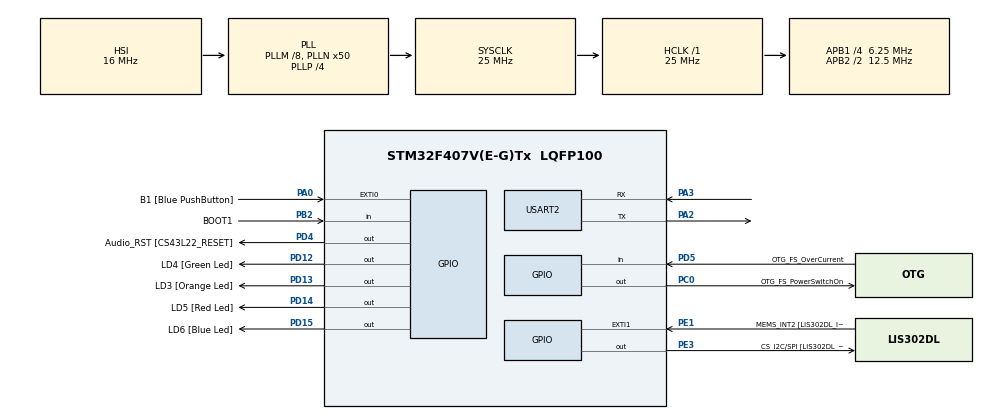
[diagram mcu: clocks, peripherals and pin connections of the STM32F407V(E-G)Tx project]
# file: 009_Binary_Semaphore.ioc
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Mcu.Family=STM32F4
Mcu.Name=STM32F407V(E-G)Tx
Mcu.Package=LQFP100
NVIC.EXTI0_IRQn=true\:6\:0\:true\:false\:true\:true\:true\:true
NVIC.PriorityGroup=NVIC_PRIORITYGROUP_4
NVIC.TIM6_DAC_IRQn=true\:15\:0\:false\:false\:true\:false\:true\:true
NVIC.TimeBase=TIM6_DAC_IRQn
NVIC.TimeBaseIP=TIM6
PA0-WKUP.GPIO_Label=B1 [Blue PushButton]
PA0-WKUP.Signal=GPXTI0
PA10.GPIO_Label=OTG_FS_ID
PA10.GPIO_Mode=GPIO_MODE_AF_PP
PA10.GPIO_PuPd=GPIO_NOPULL
PA10.GPIO_Speed=GPIO_SPEED_FREQ_LOW
PA10.Signal=USB_OTG_FS_ID
PA11.GPIO_Label=OTG_FS_DM
PA11.GPIO_Mode=GPIO_MODE_AF_PP
PA11.GPIO_PuPd=GPIO_NOPULL
PA11.GPIO_Speed=GPIO_SPEED_FREQ_LOW
PA11.Signal=USB_OTG_FS_DM
PA12.GPIO_Label=OTG_FS_DP
PA12.GPIO_Mode=GPIO_MODE_AF_PP
PA12.GPIO_PuPd=GPIO_NOPULL
PA12.GPIO_Speed=GPIO_SPEED_FREQ_LOW
PA12.Signal=USB_OTG_FS_DP
PA13.GPIO_Label=SWDIO
PA13.Signal=SYS_JTMS-SWDIO
PA14.GPIO_Label=SWCLK
PA14.Signal=SYS_JTCK-SWCLK
PA2.Mode=Asynchronous
PA2.Signal=USART2_TX
PA3.Mode=Asynchronous
PA3.Signal=USART2_RX
PA4.GPIO_Label=I2S3_WS [CS43L22_LRCK]
PA4.GPIO_Mode=GPIO_MODE_AF_PP
PA4.GPIO_PuPd=GPIO_NOPULL
PA4.GPIO_Speed=GPIO_SPEED_FREQ_LOW
PA4.Signal=I2S3_WS
PA5.GPIO_Label=SPI1_SCK [LIS302DL_SCL/SPC]
PA5.GPIO_Mode=GPIO_MODE_AF_PP
PA5.GPIO_PuPd=GPIO_NOPULL
PA5.GPIO_Speed=GPIO_SPEED_FREQ_LOW
PA5.Signal=SPI1_SCK
PA6.GPIO_Label=SPI1_MISO [LIS302DL_SDO]
PA6.GPIO_Mode=GPIO_MODE_AF_PP
PA6.GPIO_PuPd=GPIO_NOPULL
PA6.GPIO_Speed=GPIO_SPEED_FREQ_LOW
PA6.Signal=SPI1_MISO
PA7.GPIO_Label=SPI1_MOSI [LIS302DL_SDA/SDI/SDO]
PA7.GPIO_Mode=GPIO_MODE_AF_PP
PA7.GPIO_PuPd=GPIO_NOPULL
PA7.GPIO_Speed=GPIO_SPEED_FREQ_LOW
PA7.Signal=SPI1_MOSI
PA9.GPIO_Label=VBUS_FS
PA9.GPIO_Mode=GPIO_MODE_INPUT
PA9.GPIO_PuPd=GPIO_NOPULL
PA9.Signal=USB_OTG_FS_VBUS
PB10.GPIO_Label=CLK_IN [MP45DT02_CLK]
PB10.GPIO_Mode=GPIO_MODE_AF_PP
PB10.GPIO_PuPd=GPIO_NOPULL
PB10.GPIO_Speed=GPIO_SPEED_FREQ_LOW
PB10.Signal=I2S2_CK
PB2.GPIO_Label=BOOT1
PB2.GPIO_Mode=GPIO_MODE_INPUT
PB2.GPIO_PuPd=GPIO_NOPULL
PB2.Signal=GPIO_Input
PB3.GPIO_Label=SWO
PB3.Signal=SYS_JTDO-SWO
PB6.GPIO_Label=Audio_SCL [CS43L22_SCL]
PB6.GPIO_Mode=GPIO_MODE_AF_OD
PB6.GPIO_PuPd=GPIO_NOPULL
PB6.GPIO_Speed=GPIO_SPEED_FREQ_LOW
PB6.Signal=I2C1_SCL
PB9.GPIO_Label=Audio_SDA [CS43L22_SDA]
PB9.GPIO_Mode=GPIO_MODE_AF_OD
PB9.GPIO_PuPd=GPIO_NOPULL
PB9.GPIO_Speed=GPIO_SPEED_FREQ_LOW
PB9.Signal=I2C1_SDA
PC0.GPIO_Label=OTG_FS_PowerSwitchOn
PC0.GPIO_PuPd=GPIO_NOPULL
PC0.GPIO_Speed=GPIO_SPEED_FREQ_LOW
PC0.PinState=GPIO_PIN_SET
PC0.Signal=GPIO_Output
PC10.GPIO_Label=I2S3_SCK [CS43L22_SCLK]
PC10.GPIO_Mode=GPIO_MODE_AF_PP
PC10.GPIO_PuPd=GPIO_NOPULL
PC10.GPIO_Speed=GPIO_SPEED_FREQ_LOW
PC10.Signal=I2S3_CK
PC12.GPIO_Label=I2S3_SD [CS43L22_SDIN]
PC12.GPIO_Mode=GPIO_MODE_AF_PP
PC12.GPIO_PuPd=GPIO_NOPULL
PC12.GPIO_Speed=GPIO_SPEED_FREQ_LOW
PC12.Signal=I2S3_SD
PC14-OSC32_IN.GPIO_Label=PC14-OSC32_IN
PC14-OSC32_IN.Signal=RCC_OSC32_IN
PC15-OSC32_OUT.GPIO_Label=PC15-OSC32_OUT
PC15-OSC32_OUT.Signal=RCC_OSC32_OUT
PC3.GPIO_Label=PDM_OUT [MP45DT02_DOUT]
PC3.GPIO_Mode=GPIO_MODE_AF_PP
PC3.GPIO_PuPd=GPIO_NOPULL
PC3.GPIO_Speed=GPIO_SPEED_FREQ_LOW
PC3.Signal=I2S2_SD
PC7.GPIO_Label=I2S3_MCK [CS43L22_MCLK]
PC7.GPIO_Mode=GPIO_MODE_AF_PP
PC7.GPIO_PuPd=GPIO_NOPULL
PC7.GPIO_Speed=GPIO_SPEED_FREQ_LOW
PC7.Signal=I2S3_MCK
PD12.GPIO_Label=LD4 [Green Led]
PD12.GPIO_PuPd=GPIO_NOPULL
PD12.GPIO_Speed=GPIO_SPEED_FREQ_LOW
PD12.Signal=GPIO_Output
PD13.GPIO_Label=LD3 [Orange Led]
PD13.GPIO_PuPd=GPIO_NOPULL
PD13.GPIO_Speed=GPIO_SPEED_FREQ_LOW
PD13.Signal=GPIO_Output
PD14.GPIO_Label=LD5 [Red Led]
PD14.GPIO_PuPd=GPIO_NOPULL
PD14.GPIO_Speed=GPIO_SPEED_FREQ_LOW
PD14.Signal=GPIO_Output
PD15.GPIO_Label=LD6 [Blue Led]
PD15.GPIO_PuPd=GPIO_NOPULL
PD15.GPIO_Speed=GPIO_SPEED_FREQ_LOW
PD15.Signal=GPIO_Output
PD4.GPIO_Label=Audio_RST [CS43L22_RESET]
PD4.GPIO_PuPd=GPIO_NOPULL
PD4.GPIO_Speed=GPIO_SPEED_FREQ_LOW
PD4.Signal=GPIO_Output
PD5.GPIO_Label=OTG_FS_OverCurrent
PD5.GPIO_Mode=GPIO_MODE_INPUT
PD5.GPIO_PuPd=GPIO_NOPULL
PD5.Signal=GPIO_Input
PE1.GPIO_Label=MEMS_INT2 [LIS302DL_INT2]
PE1.GPIO_ModeDefaultEXTI=GPIO_MODE_EVT_RISING
PE1.GPIO_PuPd=GPIO_NOPULL
PE1.Signal=GPXTI1
PE3.GPIO_Label=CS_I2C/SPI [LIS302DL_CS_I2C/SPI]
PE3.GPIO_PuPd=GPIO_NOPULL
PE3.GPIO_Speed=GPIO_SPEED_FREQ_LOW
PE3.Signal=GPIO_Output
PH0-OSC_IN.GPIO_Label=PH0-OSC_IN
PH0-OSC_IN.Signal=RCC_OSC_IN
PH1-OSC_OUT.GPIO_Label=PH1-OSC_OUT
PH1-OSC_OUT.Signal=RCC_OSC_OUT
ProjectManager.HeapSize=0x200
ProjectManager.StackSize=0x400
ProjectManager.TargetToolchain=STM32CubeIDE
RCC.48MHZClocksFreq_Value=14285714.285714285
RCC.AHBFreq_Value=25000000
RCC.APB1CLKDivider=RCC_HCLK_DIV4
RCC.APB1Freq_Value=6250000
RCC.APB1TimFreq_Value=12500000
RCC.APB2CLKDivider=RCC_HCLK_DIV2
RCC.APB2Freq_Value=12500000
RCC.APB2TimFreq_Value=25000000
RCC.CortexFreq_Value=25000000
RCC.HCLKFreq_Value=25000000
RCC.HSE_VALUE=8000000
RCC.HSI_VALUE=16000000
RCC.LSE_VALUE=32768
RCC.PLLM=8
RCC.PLLN=50
RCC.PLLP=RCC_PLLP_DIV4
RCC.PLLQ=7
RCC.SYSCLKFreq_VALUE=25000000
RCC.SYSCLKSource=RCC_SYSCLKSOURCE_PLLCLK
RCC.VCOOutputFreq_Value=100000000
USART2.VirtualMode=VM_ASYNC
VP_SYS_VS_tim6.Mode=TIM6
board=STM32F407G-DISC1

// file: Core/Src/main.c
/* USER CODE BEGIN Header */
/**
  ******************************************************************************
  * @file           : main.c
  * @brief          : Main program body
  ******************************************************************************
  * @attention
  *
  * Copyright (c) 2024 STMicroelectronics.
  * All rights reserved.
  *
  * This software is licensed under terms that can be found in the LICENSE file
  * in the root directory of this software component.
  * If no LICENSE file comes with this software, it is provided AS-IS.
  *
  ******************************************************************************
  */
/* USER CODE END Header */
#include "main.h"

/* USER CODE BEGIN PTD */
SemaphoreHandle_t handle_semaphore;

/* USER CODE END PTD */

UART_HandleTypeDef huart2;

/* USER CODE BEGIN PV */
char*msg[50]={0};
/* USER CODE END PV */

void SystemClock_Config(void);
static void MX_GPIO_Init(void);
static void MX_USART2_UART_Init(void);
/* USER CODE BEGIN PFP */
void task1(void* param);
void task_semaph(void* param);
void printmsg(char *msg);
/* USER CODE END PFP */

int main(void)
{
  /* USER CODE BEGIN 1 */
	BaseType_t status;
  /* USER CODE END 1 */

  /* MCU Configuration--------------------------------------------------------*/

  /* Reset of all peripherals, Initializes the Flash interface and the Systick. */
  HAL_Init();

  /* Configure the system clock */
  SystemClock_Config();

  /* Initialize all configured peripherals */
  MX_GPIO_Init();
  MX_USART2_UART_Init();
  /* USER CODE BEGIN 2 */
  sprintf(msg,"Initialized \r\n");
  printmsg(msg);
  vSemaphoreCreateBinary(handle_semaphore);

  status=xTaskCreate(task1, "masterTask", 500, NULL, 2, NULL);

  status=xTaskCreate(task_semaph, "slaveTask", 500, NULL, 2, NULL);

  vTaskStartScheduler();

  /* USER CODE END 2 */

  /* Infinite loop */
  while (1)
  {

  }
}

void SystemClock_Config(void)
{
  RCC_OscInitTypeDef RCC_OscInitStruct = {0};
  RCC_ClkInitTypeDef RCC_ClkInitStruct = {0};

  /** Configure the main internal regulator output voltage
  */
  __HAL_RCC_PWR_CLK_ENABLE();
  __HAL_PWR_VOLTAGESCALING_CONFIG(PWR_REGULATOR_VOLTAGE_SCALE1);

  /** Initializes the RCC Oscillators according to the specified parameters
  * in the RCC_OscInitTypeDef structure.
  */
  RCC_OscInitStruct.OscillatorType = RCC_OSCILLATORTYPE_HSI;
  RCC_OscInitStruct.HSIState = RCC_HSI_ON;
  RCC_OscInitStruct.HSICalibrationValue = RCC_HSICALIBRATION_DEFAULT;
  RCC_OscInitStruct.PLL.PLLState = RCC_PLL_ON;
  RCC_OscInitStruct.PLL.PLLSource = RCC_PLLSOURCE_HSI;
  RCC_OscInitStruct.PLL.PLLM = 8;
  RCC_OscInitStruct.PLL.PLLN = 50;
  RCC_OscInitStruct.PLL.PLLP = RCC_PLLP_DIV4;
  RCC_OscInitStruct.PLL.PLLQ = 7;
  if (HAL_RCC_OscConfig(&RCC_OscInitStruct) != HAL_OK)
  {
    Error_Handler();
  }

  /** Initializes the CPU, AHB and APB buses clocks
  */
  RCC_ClkInitStruct.ClockType = RCC_CLOCKTYPE_HCLK|RCC_CLOCKTYPE_SYSCLK
                              |RCC_CLOCKTYPE_PCLK1|RCC_CLOCKTYPE_PCLK2;
  RCC_ClkInitStruct.SYSCLKSource = RCC_SYSCLKSOURCE_PLLCLK;
  RCC_ClkInitStruct.AHBCLKDivider = RCC_SYSCLK_DIV1;
  RCC_ClkInitStruct.APB1CLKDivider = RCC_HCLK_DIV4;
  RCC_ClkInitStruct.APB2CLKDivider = RCC_HCLK_DIV2;

  if (HAL_RCC_ClockConfig(&RCC_ClkInitStruct, FLASH_LATENCY_0) != HAL_OK)
  {
    Error_Handler();
  }
}

static void MX_USART2_UART_Init(void)
{

  huart2.Instance = USART2;
  huart2.Init.BaudRate = 115200;
  huart2.Init.WordLength = UART_WORDLENGTH_8B;
  huart2.Init.StopBits = UART_STOPBITS_1;
  huart2.Init.Parity = UART_PARITY_NONE;
  huart2.Init.Mode = UART_MODE_TX_RX;
  huart2.Init.HwFlowCtl = UART_HWCONTROL_NONE;
  huart2.Init.OverSampling = UART_OVERSAMPLING_16;
  if (HAL_UART_Init(&huart2) != HAL_OK)
  {
    Error_Handler();
  }

}

static void MX_GPIO_Init(void)
{
  GPIO_InitTypeDef GPIO_InitStruct = {0};

  /* GPIO Ports Clock Enable */
  __HAL_RCC_GPIOE_CLK_ENABLE();
  __HAL_RCC_GPIOC_CLK_ENABLE();
  __HAL_RCC_GPIOH_CLK_ENABLE();
  __HAL_RCC_GPIOA_CLK_ENABLE();
  __HAL_RCC_GPIOB_CLK_ENABLE();
  __HAL_RCC_GPIOD_CLK_ENABLE();

  /*Configure GPIO pin Output Level */
  HAL_GPIO_WritePin(CS_I2C_SPI_GPIO_Port, CS_I2C_SPI_Pin, GPIO_PIN_RESET);

  /*Configure GPIO pin Output Level */
  HAL_GPIO_WritePin(OTG_FS_PowerSwitchOn_GPIO_Port, OTG_FS_PowerSwitchOn_Pin, GPIO_PIN_SET);

  /*Configure GPIO pin Output Level */
  HAL_GPIO_WritePin(GPIOD, LD4_Pin|LD3_Pin|LD5_Pin|LD6_Pin
                          |Audio_RST_Pin, GPIO_PIN_RESET);

  /*Configure GPIO pin : CS_I2C_SPI_Pin */
  GPIO_InitStruct.Pin = CS_I2C_SPI_Pin;
  GPIO_InitStruct.Mode = GPIO_MODE_OUTPUT_PP;
  GPIO_InitStruct.Pull = GPIO_NOPULL;
  GPIO_InitStruct.Speed = GPIO_SPEED_FREQ_LOW;
  HAL_GPIO_Init(CS_I2C_SPI_GPIO_Port, &GPIO_InitStruct);

  /*Configure GPIO pin : OTG_FS_PowerSwitchOn_Pin */
  GPIO_InitStruct.Pin = OTG_FS_PowerSwitchOn_Pin;
  GPIO_InitStruct.Mode = GPIO_MODE_OUTPUT_PP;
  GPIO_InitStruct.Pull = GPIO_NOPULL;
  GPIO_InitStruct.Speed = GPIO_SPEED_FREQ_LOW;
  HAL_GPIO_Init(OTG_FS_PowerSwitchOn_GPIO_Port, &GPIO_InitStruct);

  /*Configure GPIO pin : PDM_OUT_Pin */
  GPIO_InitStruct.Pin = PDM_OUT_Pin;
  GPIO_InitStruct.Mode = GPIO_MODE_AF_PP;
  GPIO_InitStruct.Pull = GPIO_NOPULL;
  GPIO_InitStruct.Speed = GPIO_SPEED_FREQ_LOW;
  GPIO_InitStruct.Alternate = GPIO_AF5_SPI2;
  HAL_GPIO_Init(PDM_OUT_GPIO_Port, &GPIO_InitStruct);

  /*Configure GPIO pin : B1_Pin */
  GPIO_InitStruct.Pin = B1_Pin;
  GPIO_InitStruct.Mode = GPIO_MODE_IT_RISING;
  GPIO_InitStruct.Pull = GPIO_NOPULL;
  HAL_GPIO_Init(B1_GPIO_Port, &GPIO_InitStruct);

  /*Configure GPIO pin : I2S3_WS_Pin */
  GPIO_InitStruct.Pin = I2S3_WS_Pin;
  GPIO_InitStruct.Mode = GPIO_MODE_AF_PP;
  GPIO_InitStruct.Pull = GPIO_NOPULL;
  GPIO_InitStruct.Speed = GPIO_SPEED_FREQ_LOW;
  GPIO_InitStruct.Alternate = GPIO_AF6_SPI3;
  HAL_GPIO_Init(I2S3_WS_GPIO_Port, &GPIO_InitStruct);

  /*Configure GPIO pins : SPI1_SCK_Pin SPI1_MISO_Pin SPI1_MOSI_Pin */
  GPIO_InitStruct.Pin = SPI1_SCK_Pin|SPI1_MISO_Pin|SPI1_MOSI_Pin;
  GPIO_InitStruct.Mode = GPIO_MODE_AF_PP;
  GPIO_InitStruct.Pull = GPIO_NOPULL;
  GPIO_InitStruct.Speed = GPIO_SPEED_FREQ_LOW;
  GPIO_InitStruct.Alternate = GPIO_AF5_SPI1;
  HAL_GPIO_Init(GPIOA, &GPIO_InitStruct);

  /*Configure GPIO pin : BOOT1_Pin */
  GPIO_InitStruct.Pin = BOOT1_Pin;
  GPIO_InitStruct.Mode = GPIO_MODE_INPUT;
  GPIO_InitStruct.Pull = GPIO_NOPULL;
  HAL_GPIO_Init(BOOT1_GPIO_Port, &GPIO_InitStruct);

  /*Configure GPIO pin : CLK_IN_Pin */
  GPIO_InitStruct.Pin = CLK_IN_Pin;
  GPIO_InitStruct.Mode = GPIO_MODE_AF_PP;
  GPIO_InitStruct.Pull = GPIO_NOPULL;
  GPIO_InitStruct.Speed = GPIO_SPEED_FREQ_LOW;
  GPIO_InitStruct.Alternate = GPIO_AF5_SPI2;
  HAL_GPIO_Init(CLK_IN_GPIO_Port, &GPIO_InitStruct);

  /*Configure GPIO pins : LD4_Pin LD3_Pin LD5_Pin LD6_Pin
                           Audio_RST_Pin */
  GPIO_InitStruct.Pin = LD4_Pin|LD3_Pin|LD5_Pin|LD6_Pin
                          |Audio_RST_Pin;
  GPIO_InitStruct.Mode = GPIO_MODE_OUTPUT_PP;
  GPIO_InitStruct.Pull = GPIO_NOPULL;
  GPIO_InitStruct.Speed = GPIO_SPEED_FREQ_LOW;
  HAL_GPIO_Init(GPIOD, &GPIO_InitStruct);

  /*Configure GPIO pins : I2S3_MCK_Pin I2S3_SCK_Pin I2S3_SD_Pin */
  GPIO_InitStruct.Pin = I2S3_MCK_Pin|I2S3_SCK_Pin|I2S3_SD_Pin;
  GPIO_InitStruct.Mode = GPIO_MODE_AF_PP;
  GPIO_InitStruct.Pull = GPIO_NOPULL;
  GPIO_InitStruct.Speed = GPIO_SPEED_FREQ_LOW;
  GPIO_InitStruct.Alternate = GPIO_AF6_SPI3;
  HAL_GPIO_Init(GPIOC, &GPIO_InitStruct);

  /*Configure GPIO pin : VBUS_FS_Pin */
  GPIO_InitStruct.Pin = VBUS_FS_Pin;
  GPIO_InitStruct.Mode = GPIO_MODE_INPUT;
  GPIO_InitStruct.Pull = GPIO_NOPULL;
  HAL_GPIO_Init(VBUS_FS_GPIO_Port, &GPIO_InitStruct);

  /*Configure GPIO pins : OTG_FS_ID_Pin OTG_FS_DM_Pin OTG_FS_DP_Pin */
  GPIO_InitStruct.Pin = OTG_FS_ID_Pin|OTG_FS_DM_Pin|OTG_FS_DP_Pin;
  GPIO_InitStruct.Mode = GPIO_MODE_AF_PP;
  GPIO_InitStruct.Pull = GPIO_NOPULL;
  GPIO_InitStruct.Speed = GPIO_SPEED_FREQ_LOW;
  GPIO_InitStruct.Alternate = GPIO_AF10_OTG_FS;
  HAL_GPIO_Init(GPIOA, &GPIO_InitStruct);

  /*Configure GPIO pin : OTG_FS_OverCurrent_Pin */
  GPIO_InitStruct.Pin = OTG_FS_OverCurrent_Pin;
  GPIO_InitStruct.Mode = GPIO_MODE_INPUT;
  GPIO_InitStruct.Pull = GPIO_NOPULL;
  HAL_GPIO_Init(OTG_FS_OverCurrent_GPIO_Port, &GPIO_InitStruct);

  /*Configure GPIO pins : Audio_SCL_Pin Audio_SDA_Pin */
  GPIO_InitStruct.Pin = Audio_SCL_Pin|Audio_SDA_Pin;
  GPIO_InitStruct.Mode = GPIO_MODE_AF_OD;
  GPIO_InitStruct.Pull = GPIO_NOPULL;
  GPIO_InitStruct.Speed = GPIO_SPEED_FREQ_LOW;
  GPIO_InitStruct.Alternate = GPIO_AF4_I2C1;
  HAL_GPIO_Init(GPIOB, &GPIO_InitStruct);

  /*Configure GPIO pin : MEMS_INT2_Pin */
  GPIO_InitStruct.Pin = MEMS_INT2_Pin;
  GPIO_InitStruct.Mode = GPIO_MODE_EVT_RISING;
  GPIO_InitStruct.Pull = GPIO_NOPULL;
  HAL_GPIO_Init(MEMS_INT2_GPIO_Port, &GPIO_InitStruct);

  /* EXTI interrupt init*/
  HAL_NVIC_SetPriority(EXTI0_IRQn, 6, 0);
  HAL_NVIC_EnableIRQ(EXTI0_IRQn);

}

/* USER CODE BEGIN 4 */
void printmsg(char *msg)
{
    // Send each character in the message
    for(uint32_t i = 0; i < strlen(msg); i++)
    {
        // Transmit each character using HAL_UART_Transmit
        HAL_UART_Transmit(&huart2, (uint8_t *)&msg[i], 1, HAL_MAX_DELAY);
    }

    // HAL_UART_Transmit blocks until transmission is complete, so no need for additional checks
}
void task1(void*param)
{

   while(1)
   {
	   Uart_Print("Task-1 running\r\n");
		vTaskDelay(pdMS_TO_TICKS(1000));
   }
}

void task_semaph(void*param)
{

    /* As per most tasks, this task is implemented within an infinite loop. */
	while(1)
    {
		 xSemaphoreTake(handle_semaphore,portMAX_DELAY);                                // If semaphore is not available, the task waits for the maximum time in the blocked state.
		 Uart_Print("Task semaph running\r\n");
    }
}

/* USER CODE END 4 */

void HAL_TIM_PeriodElapsedCallback(TIM_HandleTypeDef *htim)
{
  if (htim->Instance == TIM6) {
    HAL_IncTick();
  }
}

void Error_Handler(void)
{
  __disable_irq();
  while (1)
  {
  }
}
